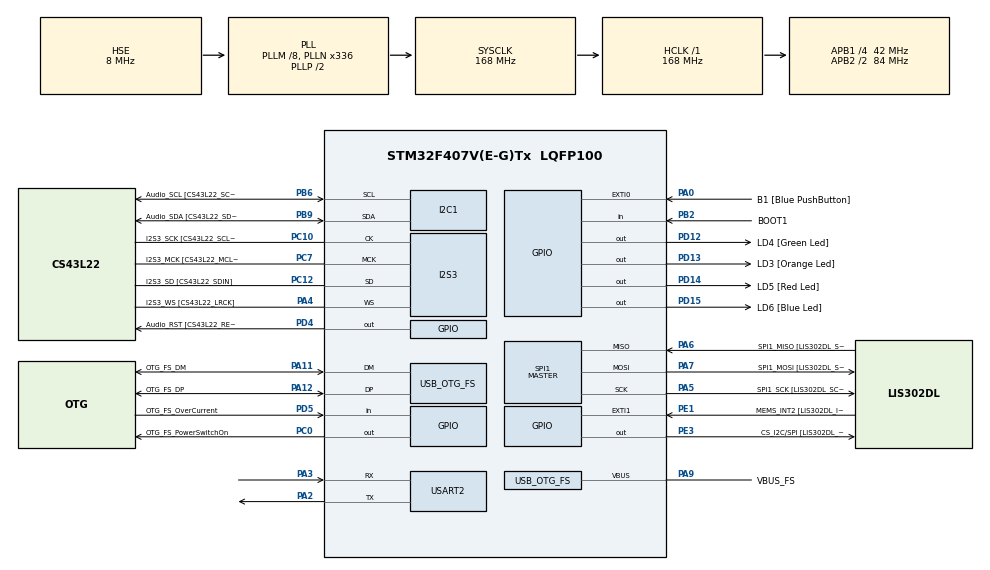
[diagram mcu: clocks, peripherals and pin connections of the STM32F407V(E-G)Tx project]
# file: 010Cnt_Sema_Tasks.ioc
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I2S3.AudioFreq-Half_Duplex_Master=I2S_AUDIOFREQ_96K
I2S3.ErrorAudioFreq=-2.34 %
I2S3.ErrorAudioFreq-Half_Duplex_Master=0.8 %
I2S3.FullDuplexMode=I2S_FULLDUPLEXMODE_DISABLE
I2S3.Instance=SPI$Index
I2S3.RealAudioFreq=93.75 KHz
I2S3.RealAudioFreq-Half_Duplex_Master=96.774 KHz
I2S3.VirtualMode=I2S_MODE_MASTER
Mcu.Family=STM32F4
Mcu.Name=STM32F407V(E-G)Tx
Mcu.Package=LQFP100
NVIC.OTG_FS_IRQn=true\:0\:0\:false\:false\:true\:true\:true\:true
NVIC.PriorityGroup=NVIC_PRIORITYGROUP_4
NVIC.TIM6_DAC_IRQn=true\:0\:0\:false\:false\:true\:false\:true\:true
NVIC.TimeBase=TIM6_DAC_IRQn
NVIC.TimeBaseIP=TIM6
PA0-WKUP.GPIO_Label=B1 [Blue PushButton]
PA0-WKUP.GPIO_ModeDefaultEXTI=GPIO_MODE_EVT_RISING
PA0-WKUP.GPIO_PuPd=GPIO_NOPULL
PA0-WKUP.Signal=GPXTI0
PA10.GPIO_Label=OTG_FS_ID
PA10.GPIO_Mode=GPIO_MODE_AF_PP
PA10.GPIO_PuPd=GPIO_NOPULL
PA10.GPIO_Speed=GPIO_SPEED_FREQ_LOW
PA10.Signal=USB_OTG_FS_ID
PA11.GPIO_Label=OTG_FS_DM
PA11.GPIO_Mode=GPIO_MODE_AF_PP
PA11.GPIO_PuPd=GPIO_NOPULL
PA11.GPIO_Speed=GPIO_SPEED_FREQ_LOW
PA11.Mode=Host_Only
PA11.Signal=USB_OTG_FS_DM
PA12.GPIO_Label=OTG_FS_DP
PA12.GPIO_Mode=GPIO_MODE_AF_PP
PA12.GPIO_PuPd=GPIO_NOPULL
PA12.GPIO_Speed=GPIO_SPEED_FREQ_LOW
PA12.Mode=Host_Only
PA12.Signal=USB_OTG_FS_DP
PA13.GPIO_Label=SWDIO
PA13.Mode=Serial_Wire
PA13.Signal=SYS_JTMS-SWDIO
PA14.GPIO_Label=SWCLK
PA14.Mode=Serial_Wire
PA14.Signal=SYS_JTCK-SWCLK
PA2.Mode=Asynchronous
PA2.Signal=USART2_TX
PA3.Mode=Asynchronous
PA3.Signal=USART2_RX
PA4.GPIO_Label=I2S3_WS [CS43L22_LRCK]
PA4.GPIO_Mode=GPIO_MODE_AF_PP
PA4.GPIO_PuPd=GPIO_NOPULL
PA4.GPIO_Speed=GPIO_SPEED_FREQ_LOW
PA4.Mode=Half_Duplex_Master
PA4.Signal=I2S3_WS
PA5.GPIO_Label=SPI1_SCK [LIS302DL_SCL/SPC]
PA5.GPIO_Mode=GPIO_MODE_AF_PP
PA5.GPIO_PuPd=GPIO_NOPULL
PA5.GPIO_Speed=GPIO_SPEED_FREQ_LOW
PA5.Mode=Full_Duplex_Master
PA5.Signal=SPI1_SCK
PA6.GPIO_Label=SPI1_MISO [LIS302DL_SDO]
PA6.GPIO_Mode=GPIO_MODE_AF_PP
PA6.GPIO_PuPd=GPIO_NOPULL
PA6.GPIO_Speed=GPIO_SPEED_FREQ_LOW
PA6.Mode=Full_Duplex_Master
PA6.Signal=SPI1_MISO
PA7.GPIO_Label=SPI1_MOSI [LIS302DL_SDA/SDI/SDO]
PA7.GPIO_Mode=GPIO_MODE_AF_PP
PA7.GPIO_PuPd=GPIO_NOPULL
PA7.GPIO_Speed=GPIO_SPEED_FREQ_LOW
PA7.Mode=Full_Duplex_Master
PA7.Signal=SPI1_MOSI
PA9.GPIO_Label=VBUS_FS
PA9.GPIO_Mode=GPIO_MODE_INPUT
PA9.GPIO_PuPd=GPIO_NOPULL
PA9.Mode=Activate_VBUS
PA9.Signal=USB_OTG_FS_VBUS
PB10.GPIO_Label=CLK_IN [MP45DT02_CLK]
PB10.GPIO_Mode=GPIO_MODE_AF_PP
PB10.GPIO_PuPd=GPIO_NOPULL
PB10.GPIO_Speed=GPIO_SPEED_FREQ_LOW
PB10.Signal=I2S2_CK
PB2.GPIO_Label=BOOT1
PB2.GPIO_Mode=GPIO_MODE_INPUT
PB2.GPIO_PuPd=GPIO_NOPULL
PB2.Signal=GPIO_Input
PB3.GPIO_Label=SWO
PB3.Signal=SYS_JTDO-SWO
PB6.GPIO_Label=Audio_SCL [CS43L22_SCL]
PB6.GPIO_Mode=GPIO_MODE_AF_OD
PB6.GPIO_Pu=GPIO_PULLUP
PB6.GPIO_PuPd=GPIO_NOPULL
PB6.GPIO_Speed=GPIO_SPEED_FREQ_LOW
PB6.Mode=I2C
PB6.Signal=I2C1_SCL
PB9.GPIO_Label=Audio_SDA [CS43L22_SDA]
PB9.GPIO_Mode=GPIO_MODE_AF_OD
PB9.GPIO_Pu=GPIO_PULLUP
PB9.GPIO_PuPd=GPIO_NOPULL
PB9.GPIO_Speed=GPIO_SPEED_FREQ_LOW
PB9.Mode=I2C
PB9.Signal=I2C1_SDA
PC0.GPIO_Label=OTG_FS_PowerSwitchOn
PC0.GPIO_PuPd=GPIO_NOPULL
PC0.GPIO_Speed=GPIO_SPEED_FREQ_LOW
PC0.PinState=GPIO_PIN_SET
PC0.Signal=GPIO_Output
PC10.GPIO_Label=I2S3_SCK [CS43L22_SCLK]
PC10.GPIO_Mode=GPIO_MODE_AF_PP
PC10.GPIO_PuPd=GPIO_NOPULL
PC10.GPIO_Speed=GPIO_SPEED_FREQ_LOW
PC10.Mode=Half_Duplex_Master
PC10.Signal=I2S3_CK
PC12.GPIO_Label=I2S3_SD [CS43L22_SDIN]
PC12.GPIO_Mode=GPIO_MODE_AF_PP
PC12.GPIO_PuPd=GPIO_NOPULL
PC12.GPIO_Speed=GPIO_SPEED_FREQ_LOW
PC12.Mode=Half_Duplex_Master
PC12.Signal=I2S3_SD
PC14-OSC32_IN.GPIO_Label=PC14-OSC32_IN
PC14-OSC32_IN.Mode=LSE-External-Oscillator
PC14-OSC32_IN.Signal=RCC_OSC32_IN
PC15-OSC32_OUT.GPIO_Label=PC15-OSC32_OUT
PC15-OSC32_OUT.Mode=LSE-External-Oscillator
PC15-OSC32_OUT.Signal=RCC_OSC32_OUT
PC3.GPIO_Label=PDM_OUT [MP45DT02_DOUT]
PC3.GPIO_Mode=GPIO_MODE_AF_PP
PC3.GPIO_PuPd=GPIO_NOPULL
PC3.GPIO_Speed=GPIO_SPEED_FREQ_LOW
PC3.Signal=I2S2_SD
PC7.GPIO_Label=I2S3_MCK [CS43L22_MCLK]
PC7.GPIO_Mode=GPIO_MODE_AF_PP
PC7.GPIO_PuPd=GPIO_NOPULL
PC7.GPIO_Speed=GPIO_SPEED_FREQ_LOW
PC7.Mode=Master_Clock_Activated
PC7.Signal=I2S3_MCK
PD12.GPIO_Label=LD4 [Green Led]
PD12.GPIO_PuPd=GPIO_NOPULL
PD12.GPIO_Speed=GPIO_SPEED_FREQ_LOW
PD12.Signal=GPIO_Output
PD13.GPIO_Label=LD3 [Orange Led]
PD13.GPIO_PuPd=GPIO_NOPULL
PD13.GPIO_Speed=GPIO_SPEED_FREQ_LOW
PD13.Signal=GPIO_Output
PD14.GPIO_Label=LD5 [Red Led]
PD14.GPIO_PuPd=GPIO_NOPULL
PD14.GPIO_Speed=GPIO_SPEED_FREQ_LOW
PD14.Signal=GPIO_Output
PD15.GPIO_Label=LD6 [Blue Led]
PD15.GPIO_PuPd=GPIO_NOPULL
PD15.GPIO_Speed=GPIO_SPEED_FREQ_LOW
PD15.Signal=GPIO_Output
PD4.GPIO_Label=Audio_RST [CS43L22_RESET]
PD4.GPIO_PuPd=GPIO_NOPULL
PD4.GPIO_Speed=GPIO_SPEED_FREQ_LOW
PD4.Signal=GPIO_Output
PD5.GPIO_Label=OTG_FS_OverCurrent
PD5.GPIO_Mode=GPIO_MODE_INPUT
PD5.GPIO_PuPd=GPIO_NOPULL
PD5.Signal=GPIO_Input
PE1.GPIO_Label=MEMS_INT2 [LIS302DL_INT2]
PE1.GPIO_ModeDefaultEXTI=GPIO_MODE_EVT_RISING
PE1.GPIO_PuPd=GPIO_NOPULL
PE1.Signal=GPXTI1
PE3.GPIO_Label=CS_I2C/SPI [LIS302DL_CS_I2C/SPI]
PE3.GPIO_PuPd=GPIO_NOPULL
PE3.GPIO_Speed=GPIO_SPEED_FREQ_LOW
PE3.Signal=GPIO_Output
PH0-OSC_IN.GPIO_Label=PH0-OSC_IN
PH0-OSC_IN.Mode=HSE-External-Oscillator
PH0-OSC_IN.Signal=RCC_OSC_IN
PH1-OSC_OUT.GPIO_Label=PH1-OSC_OUT
PH1-OSC_OUT.Mode=HSE-External-Oscillator
PH1-OSC_OUT.Signal=RCC_OSC_OUT
ProjectManager.HeapSize=0x200
ProjectManager.StackSize=0x400
ProjectManager.TargetToolchain=STM32CubeIDE
RCC.48MHZClocksFreq_Value=48000000
RCC.AHBFreq_Value=168000000
RCC.APB1CLKDivider=RCC_HCLK_DIV4
RCC.APB1Freq_Value=42000000
RCC.APB1TimFreq_Value=84000000
RCC.APB2CLKDivider=RCC_HCLK_DIV2
RCC.APB2Freq_Value=84000000
RCC.APB2TimFreq_Value=168000000
RCC.CortexFreq_Value=168000000
RCC.HCLKFreq_Value=168000000
RCC.HSE_VALUE=8000000
RCC.HSI_VALUE=16000000
RCC.PLLM=8
RCC.PLLN=336
RCC.PLLQ=7
RCC.SYSCLKFreq_VALUE=168000000
RCC.SYSCLKSource=RCC_SYSCLKSOURCE_PLLCLK
RCC.VCOOutputFreq_Value=336000000
SPI1.BaudRatePrescaler-Full_Duplex_Master=SPI_BAUDRATEPRESCALER_2
SPI1.CalculateBaudRate-Full_Duplex_Master=42.0 MBits/s
SPI1.Direction=SPI_DIRECTION_2LINES
SPI1.Mode=SPI_MODE_MASTER
SPI1.Mode-Full_Duplex_Master=SPI_MODE_MASTER
SPI1.VirtualType=VM_MASTER
USART2.VirtualMode=VM_ASYNC
USB_HOST.BSP.number=1
USB_HOST.USBH_HandleTypeDef-CDC_FS=hUsbHostFS
USB_HOST.VirtualModeFS=Cdc
USB_HOST0.BSP.STBoard=false
USB_HOST0.BSP.api=Unknown
USB_HOST0.BSP.instance=PC0
USB_HOST0.BSP.ip=GPIO
USB_HOST0.BSP.mode=Output
USB_HOST0.BSP.name=Drive_VBUS_FS
USB_HOST0.BSP.solution=PC0
USB_OTG_FS.VirtualMode=Host_Only
USB_OTG_FS.phy_itface=HCD_PHY_EMBEDDED
VP_SYS_VS_tim6.Mode=TIM6
VP_USB_HOST_VS_USB_HOST_CDC_FS.Mode=CDC_FS
board=STM32F407G-DISC1

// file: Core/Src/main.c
/* USER CODE BEGIN Header */
/**
  ******************************************************************************
  * @file           : main.c
  * @brief          : Main program body
  ******************************************************************************
  * @attention
  *
  * Copyright (c) 2024 STMicroelectronics.
  * All rights reserved.
  *
  * This software is licensed under terms that can be found in the LICENSE file
  * in the root directory of this software component.
  * If no LICENSE file comes with this software, it is provided AS-IS.
  *
  ******************************************************************************
  */
/* USER CODE END Header */
#include "main.h"
#include "usb_host.h"

/* USER CODE BEGIN Includes */
#include <stdio.h>
#include <stdlib.h>
#include <stdint.h>
#include <string.h>
#include "FreeRTOS.h"
#include "task.h"
#include "semphr.h"
/* USER CODE END Includes */

I2C_HandleTypeDef hi2c1;

I2S_HandleTypeDef hi2s3;

SPI_HandleTypeDef hspi1;

UART_HandleTypeDef huart2;

void SystemClock_Config(void);
static void MX_GPIO_Init(void);
static void MX_I2C1_Init(void);
static void MX_I2S3_Init(void);
static void MX_SPI1_Init(void);
static void MX_USART2_UART_Init(void);
void MX_USB_HOST_Process(void);

/* USER CODE BEGIN 0 */

char usr_msg[250]={0};
TaskHandle_t xTaskHandle1=NULL;
TaskHandle_t xTaskHandle2=NULL;

/* The tasks to be created. */
static void vHandlerTask( void *pvParameters );
static void vPeriodicTask( void *pvParameters );

/* Enable the software interrupt and set its priority. */
static void prvSetupSoftwareInterrupt();

/* The service routine for the interrupt.  This is the interrupt that the
   task will be synchronized with. */
void vSoftwareInterruptHandler( void );

/* Declare a variable of type xSemaphoreHandle.  This is used to reference the
   semaphore that is used to synchronize a task with an interrupt. */
xSemaphoreHandle xCountingSemaphore;
/* USER CODE END 0 */

int main(void)
{

  /* MCU Configuration--------------------------------------------------------*/

  /* Reset of all peripherals, Initializes the Flash interface and the Systick. */
  HAL_Init();

  /* Configure the system clock */
  SystemClock_Config();

  /* Initialize all configured peripherals */
  MX_GPIO_Init();
  MX_I2C1_Init();
  MX_I2S3_Init();
  MX_SPI1_Init();
  MX_USB_HOST_Init();
  MX_USART2_UART_Init();
  /* USER CODE BEGIN 2 */

	/* Before a semaphore is used it must be explicitly created.  In this example
	a counting semaphore is created.  The semaphore is created to have a maximum
	count value of 10, and an initial count value of 0. */
	xCountingSemaphore = xSemaphoreCreateCounting( 10, 0 );

	/* Check the semaphore was created successfully. */
	if( xCountingSemaphore != NULL )
	{
		/* Enable the button interrupt and set its priority. */
		prvSetupSoftwareInterrupt();

		/* Create the 'handler' task.  This is the task that will be synchronized
		with the interrupt.  The handler task is created with a high priority to
		ensure it runs immediately after the interrupt exits.  In this case a
		priority of 3 is chosen. */
		xTaskCreate( vHandlerTask, "Handler", 500, NULL, 1, NULL );

		/* Create the task that will periodically generate a software interrupt.
		This is created with a priority below the handler task to ensure it will
		get preempted each time the handler task exist the Blocked state. */
		xTaskCreate( vPeriodicTask, "Periodic", 500, NULL, 3, NULL );

		/* Start the scheduler so the created tasks start executing. */
		vTaskStartScheduler();
	}
  /* USER CODE END 2 */

  /* Infinite loop */
  while (1)
  {
    MX_USB_HOST_Process();

  }
}

void SystemClock_Config(void)
{
  RCC_OscInitTypeDef RCC_OscInitStruct = {0};
  RCC_ClkInitTypeDef RCC_ClkInitStruct = {0};

  /** Configure the main internal regulator output voltage
  */
  __HAL_RCC_PWR_CLK_ENABLE();
  __HAL_PWR_VOLTAGESCALING_CONFIG(PWR_REGULATOR_VOLTAGE_SCALE1);

  /** Initializes the RCC Oscillators according to the specified parameters
  * in the RCC_OscInitTypeDef structure.
  */
  RCC_OscInitStruct.OscillatorType = RCC_OSCILLATORTYPE_HSE;
  RCC_OscInitStruct.HSEState = RCC_HSE_ON;
  RCC_OscInitStruct.PLL.PLLState = RCC_PLL_ON;
  RCC_OscInitStruct.PLL.PLLSource = RCC_PLLSOURCE_HSE;
  RCC_OscInitStruct.PLL.PLLM = 8;
  RCC_OscInitStruct.PLL.PLLN = 336;
  RCC_OscInitStruct.PLL.PLLP = RCC_PLLP_DIV2;
  RCC_OscInitStruct.PLL.PLLQ = 7;
  if (HAL_RCC_OscConfig(&RCC_OscInitStruct) != HAL_OK)
  {
    Error_Handler();
  }

  /** Initializes the CPU, AHB and APB buses clocks
  */
  RCC_ClkInitStruct.ClockType = RCC_CLOCKTYPE_HCLK|RCC_CLOCKTYPE_SYSCLK
                              |RCC_CLOCKTYPE_PCLK1|RCC_CLOCKTYPE_PCLK2;
  RCC_ClkInitStruct.SYSCLKSource = RCC_SYSCLKSOURCE_PLLCLK;
  RCC_ClkInitStruct.AHBCLKDivider = RCC_SYSCLK_DIV1;
  RCC_ClkInitStruct.APB1CLKDivider = RCC_HCLK_DIV4;
  RCC_ClkInitStruct.APB2CLKDivider = RCC_HCLK_DIV2;

  if (HAL_RCC_ClockConfig(&RCC_ClkInitStruct, FLASH_LATENCY_5) != HAL_OK)
  {
    Error_Handler();
  }
}

static void MX_I2C1_Init(void)
{

  hi2c1.Instance = I2C1;
  hi2c1.Init.ClockSpeed = 100000;
  hi2c1.Init.DutyCycle = I2C_DUTYCYCLE_2;
  hi2c1.Init.OwnAddress1 = 0;
  hi2c1.Init.AddressingMode = I2C_ADDRESSINGMODE_7BIT;
  hi2c1.Init.DualAddressMode = I2C_DUALADDRESS_DISABLE;
  hi2c1.Init.OwnAddress2 = 0;
  hi2c1.Init.GeneralCallMode = I2C_GENERALCALL_DISABLE;
  hi2c1.Init.NoStretchMode = I2C_NOSTRETCH_DISABLE;
  if (HAL_I2C_Init(&hi2c1) != HAL_OK)
  {
    Error_Handler();
  }

}

static void MX_I2S3_Init(void)
{

  hi2s3.Instance = SPI3;
  hi2s3.Init.Mode = I2S_MODE_MASTER_TX;
  hi2s3.Init.Standard = I2S_STANDARD_PHILIPS;
  hi2s3.Init.DataFormat = I2S_DATAFORMAT_16B;
  hi2s3.Init.MCLKOutput = I2S_MCLKOUTPUT_ENABLE;
  hi2s3.Init.AudioFreq = I2S_AUDIOFREQ_96K;
  hi2s3.Init.CPOL = I2S_CPOL_LOW;
  hi2s3.Init.ClockSource = I2S_CLOCK_PLL;
  hi2s3.Init.FullDuplexMode = I2S_FULLDUPLEXMODE_DISABLE;
  if (HAL_I2S_Init(&hi2s3) != HAL_OK)
  {
    Error_Handler();
  }

}

static void MX_SPI1_Init(void)
{

  /* SPI1 parameter configuration*/
  hspi1.Instance = SPI1;
  hspi1.Init.Mode = SPI_MODE_MASTER;
  hspi1.Init.Direction = SPI_DIRECTION_2LINES;
  hspi1.Init.DataSize = SPI_DATASIZE_8BIT;
  hspi1.Init.CLKPolarity = SPI_POLARITY_LOW;
  hspi1.Init.CLKPhase = SPI_PHASE_1EDGE;
  hspi1.Init.NSS = SPI_NSS_SOFT;
  hspi1.Init.BaudRatePrescaler = SPI_BAUDRATEPRESCALER_2;
  hspi1.Init.FirstBit = SPI_FIRSTBIT_MSB;
  hspi1.Init.TIMode = SPI_TIMODE_DISABLE;
  hspi1.Init.CRCCalculation = SPI_CRCCALCULATION_DISABLE;
  hspi1.Init.CRCPolynomial = 10;
  if (HAL_SPI_Init(&hspi1) != HAL_OK)
  {
    Error_Handler();
  }

}

static void MX_USART2_UART_Init(void)
{

  huart2.Instance = USART2;
  huart2.Init.BaudRate = 115200;
  huart2.Init.WordLength = UART_WORDLENGTH_8B;
  huart2.Init.StopBits = UART_STOPBITS_1;
  huart2.Init.Parity = UART_PARITY_NONE;
  huart2.Init.Mode = UART_MODE_TX_RX;
  huart2.Init.HwFlowCtl = UART_HWCONTROL_NONE;
  huart2.Init.OverSampling = UART_OVERSAMPLING_16;
  if (HAL_UART_Init(&huart2) != HAL_OK)
  {
    Error_Handler();
  }

}

static void MX_GPIO_Init(void)
{
  GPIO_InitTypeDef GPIO_InitStruct = {0};

  /* GPIO Ports Clock Enable */
  __HAL_RCC_GPIOE_CLK_ENABLE();
  __HAL_RCC_GPIOC_CLK_ENABLE();
  __HAL_RCC_GPIOH_CLK_ENABLE();
  __HAL_RCC_GPIOA_CLK_ENABLE();
  __HAL_RCC_GPIOB_CLK_ENABLE();
  __HAL_RCC_GPIOD_CLK_ENABLE();

  /*Configure GPIO pin Output Level */
  HAL_GPIO_WritePin(CS_I2C_SPI_GPIO_Port, CS_I2C_SPI_Pin, GPIO_PIN_RESET);

  /*Configure GPIO pin Output Level */
  HAL_GPIO_WritePin(OTG_FS_PowerSwitchOn_GPIO_Port, OTG_FS_PowerSwitchOn_Pin, GPIO_PIN_SET);

  /*Configure GPIO pin Output Level */
  HAL_GPIO_WritePin(GPIOD, LD4_Pin|LD3_Pin|LD5_Pin|LD6_Pin
                          |Audio_RST_Pin, GPIO_PIN_RESET);

  /*Configure GPIO pin : CS_I2C_SPI_Pin */
  GPIO_InitStruct.Pin = CS_I2C_SPI_Pin;
  GPIO_InitStruct.Mode = GPIO_MODE_OUTPUT_PP;
  GPIO_InitStruct.Pull = GPIO_NOPULL;
  GPIO_InitStruct.Speed = GPIO_SPEED_FREQ_LOW;
  HAL_GPIO_Init(CS_I2C_SPI_GPIO_Port, &GPIO_InitStruct);

  /*Configure GPIO pin : OTG_FS_PowerSwitchOn_Pin */
  GPIO_InitStruct.Pin = OTG_FS_PowerSwitchOn_Pin;
  GPIO_InitStruct.Mode = GPIO_MODE_OUTPUT_PP;
  GPIO_InitStruct.Pull = GPIO_NOPULL;
  GPIO_InitStruct.Speed = GPIO_SPEED_FREQ_LOW;
  HAL_GPIO_Init(OTG_FS_PowerSwitchOn_GPIO_Port, &GPIO_InitStruct);

  /*Configure GPIO pin : PDM_OUT_Pin */
  GPIO_InitStruct.Pin = PDM_OUT_Pin;
  GPIO_InitStruct.Mode = GPIO_MODE_AF_PP;
  GPIO_InitStruct.Pull = GPIO_NOPULL;
  GPIO_InitStruct.Speed = GPIO_SPEED_FREQ_LOW;
  GPIO_InitStruct.Alternate = GPIO_AF5_SPI2;
  HAL_GPIO_Init(PDM_OUT_GPIO_Port, &GPIO_InitStruct);

  /*Configure GPIO pin : B1_Pin */
  GPIO_InitStruct.Pin = B1_Pin;
  GPIO_InitStruct.Mode = GPIO_MODE_EVT_RISING;
  GPIO_InitStruct.Pull = GPIO_NOPULL;
  HAL_GPIO_Init(B1_GPIO_Port, &GPIO_InitStruct);

  /*Configure GPIO pin : BOOT1_Pin */
  GPIO_InitStruct.Pin = BOOT1_Pin;
  GPIO_InitStruct.Mode = GPIO_MODE_INPUT;
  GPIO_InitStruct.Pull = GPIO_NOPULL;
  HAL_GPIO_Init(BOOT1_GPIO_Port, &GPIO_InitStruct);

  /*Configure GPIO pin : CLK_IN_Pin */
  GPIO_InitStruct.Pin = CLK_IN_Pin;
  GPIO_InitStruct.Mode = GPIO_MODE_AF_PP;
  GPIO_InitStruct.Pull = GPIO_NOPULL;
  GPIO_InitStruct.Speed = GPIO_SPEED_FREQ_LOW;
  GPIO_InitStruct.Alternate = GPIO_AF5_SPI2;
  HAL_GPIO_Init(CLK_IN_GPIO_Port, &GPIO_InitStruct);

  /*Configure GPIO pins : LD4_Pin LD3_Pin LD5_Pin LD6_Pin
                           Audio_RST_Pin */
  GPIO_InitStruct.Pin = LD4_Pin|LD3_Pin|LD5_Pin|LD6_Pin
                          |Audio_RST_Pin;
  GPIO_InitStruct.Mode = GPIO_MODE_OUTPUT_PP;
  GPIO_InitStruct.Pull = GPIO_NOPULL;
  GPIO_InitStruct.Speed = GPIO_SPEED_FREQ_LOW;
  HAL_GPIO_Init(GPIOD, &GPIO_InitStruct);

  /*Configure GPIO pin : OTG_FS_OverCurrent_Pin */
  GPIO_InitStruct.Pin = OTG_FS_OverCurrent_Pin;
  GPIO_InitStruct.Mode = GPIO_MODE_INPUT;
  GPIO_InitStruct.Pull = GPIO_NOPULL;
  HAL_GPIO_Init(OTG_FS_OverCurrent_GPIO_Port, &GPIO_InitStruct);

  /*Configure GPIO pin : MEMS_INT2_Pin */
  GPIO_InitStruct.Pin = MEMS_INT2_Pin;
  GPIO_InitStruct.Mode = GPIO_MODE_EVT_RISING;
  GPIO_InitStruct.Pull = GPIO_NOPULL;
  HAL_GPIO_Init(MEMS_INT2_GPIO_Port, &GPIO_InitStruct);

}

/* USER CODE BEGIN 4 */
static void vHandlerTask( void *pvParameters )
{
	/* As per most tasks, this task is implemented within an infinite loop. */
	for( ;; )
	{
		/* Use the semaphore to wait for the event.  The semaphore was created
		before the scheduler was started so before this task ran for the first
		time.  The task blocks indefinitely meaning this function call will only
		return once the semaphore has been successfully obtained - so there is no
		need to check the returned value. */
		xSemaphoreTake( xCountingSemaphore, portMAX_DELAY );

		/* To get here the event must have occurred.  Process the event (in this
		case we just print out a message). */
		sprintf(usr_msg, "Handler task - Processing event.\r\n");
		printf(usr_msg);
	}
}
/*-----------------------------------------------------------*/

static void vPeriodicTask( void *pvParameters )
{
	/* As per most tasks, this task is implemented within an infinite loop. */
	for( ;; )
	{
		/* This task is just used to 'simulate' an interrupt.  This is done by
		periodically generating a software interrupt. */
		vTaskDelay( pdMS_TO_TICKS(500) );

		/* Generate the interrupt, printing a message both before hand and
		afterwards so the sequence of execution is evident from the output. */
        sprintf(usr_msg, "Periodic task - Pending the interrupt.\r\n" );
        printf(usr_msg);

        //pend the interrupt
        NVIC_SetPendingIRQ(EXTI15_10_IRQn);

        sprintf(usr_msg, "Periodic task - Resuming.\r\n" );
        printf(usr_msg);

	}
}

static void prvSetupSoftwareInterrupt()
{
	/* here were simulating the button interrupt by manually setting the interrupt enable bit in the NVIC enable register*/

	/* The interrupt service routine uses an (interrupt safe) FreeRTOS API
	function so the interrupt priority must be at or below the priority defined
	by configSYSCALL_INTERRUPT_PRIORITY. */

	NVIC_SetPriority( EXTI15_10_IRQn, configLIBRARY_MAX_SYSCALL_INTERRUPT_PRIORITY );

	/* Enable the interrupt. */
	NVIC_EnableIRQ( EXTI15_10_IRQn );
}

void EXTI15_10_IRQHandler( void )
{
	portBASE_TYPE xHigherPriorityTaskWoken = pdFALSE;

	/* 'Give' the semaphore multiple times.  The first will unblock the handler
	task, the following 'gives' are to demonstrate that the semaphore latches
	the events to allow the handler task to process them in turn without any
	events getting lost.  This simulates multiple interrupts being taken by the
	processor, even though in this case the events are simulated within a single
	interrupt occurrence.*/
	sprintf(usr_msg,"==>Button_Handler\r\n");
	printf(usr_msg);

	xSemaphoreGiveFromISR( xCountingSemaphore, &xHigherPriorityTaskWoken );
	xSemaphoreGiveFromISR( xCountingSemaphore, &xHigherPriorityTaskWoken );
	xSemaphoreGiveFromISR( xCountingSemaphore, &xHigherPriorityTaskWoken );
	xSemaphoreGiveFromISR( xCountingSemaphore, &xHigherPriorityTaskWoken );
	xSemaphoreGiveFromISR( xCountingSemaphore, &xHigherPriorityTaskWoken );

    /* Clear the software interrupt bit using the interrupt controllers  */

    /* Giving the semaphore may have unblocked a task - if it did and the
    unblocked task has a priority equal to or above the currently executing
    task then xHigherPriorityTaskWoken will have been set to pdTRUE and
    portEND_SWITCHING_ISR() will force a context switch to the newly unblocked
    higher priority task.

    NOTE: The syntax for forcing a context switch within an ISR varies between
    FreeRTOS ports.  The portEND_SWITCHING_ISR() macro is provided as part of
    the Cortex M3 port layer for this purpose.  taskYIELD() must never be called
    from an ISR! */
    portEND_SWITCHING_ISR( xHigherPriorityTaskWoken );
}
/* USER CODE END 4 */

void HAL_TIM_PeriodElapsedCallback(TIM_HandleTypeDef *htim)
{
  if (htim->Instance == TIM6) {
    HAL_IncTick();
  }
}

void Error_Handler(void)
{
  __disable_irq();
  while (1)
  {
  }
}
